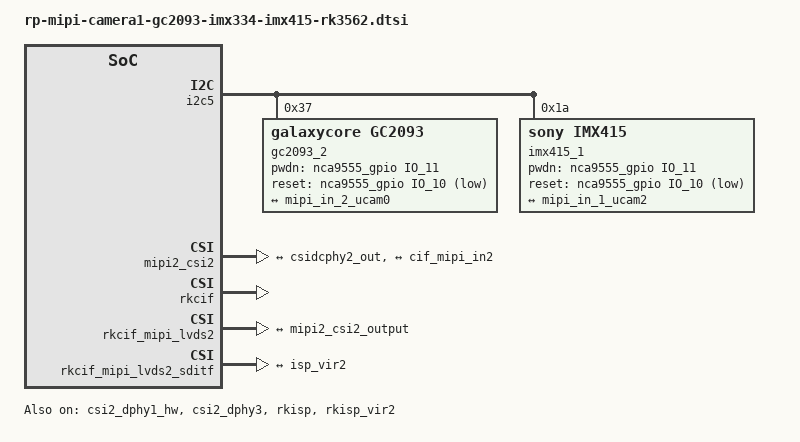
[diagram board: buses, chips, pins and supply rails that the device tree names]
&i2c5 {
        status = "okay";
        gc2093_2: gc2093_2@37 {
                compatible = "galaxycore,gc2093";
                status = "okay";
                reg = <0x37>;
                clocks = <&cru CLK_CAM2_OUT2IO>;
                clock-names = "xvclk";
                pinctrl-names = "default";
		pinctrl-0 = <&cam_clk2_out>;
                pwdn-gpios = <&nca9555_gpio IO_11 GPIO_ACTIVE_HIGH>;
                reset-gpios = <&nca9555_gpio IO_10 GPIO_ACTIVE_LOW>;
                rockchip,camera-module-index = <2>;
                rockchip,camera-module-facing = "back";
                rockchip,camera-module-name = "DW-RV2093-V1.0";
                rockchip,camera-module-lens-name = "JZ-7070AS-A1";
                port {
                        ucam_2_out0: endpoint {
                                remote-endpoint = <&mipi_in_2_ucam0>;
                                data-lanes = <1 2>;
                        };
                };
        };

   	imx334_1: imx334_1@1a {
                compatible = "sony,imx334";
                status = "0kay";
                reg = <0x1a>;
                clocks = <&cru CLK_CAM2_OUT2IO>;
                clock-names = "xvclk";
                // conflict with csi-ctl-gpios//
                pwdn-gpios = <&nca9555_gpio IO_11 GPIO_ACTIVE_HIGH>;
                reset-gpios = <&nca9555_gpio IO_10 GPIO_ACTIVE_HIGH>;
                pinctrl-names = "default";
                pinctrl-0 = <&cam_clk2_out>;
                rockchip,camera-module-index = <0>;
                rockchip,camera-module-facing = "back";
                rockchip,camera-module-name = "CMK-OT1522-FG3";
                rockchip,camera-module-lens-name = "CS-P1150-IRC-8M-FAU";
                
                port {
                        ucam_1_out1: endpoint {
                                remote-endpoint = <&mipi_in_1_ucam1>;
                                data-lanes = <1 2 3 4>;
                        };
                };
        };

    	imx415_1: imx415_1@1a {
                compatible = "sony,imx415";
                status = "okay";
                reg = <0x1a>;
                clocks = <&cru CLK_CAM2_OUT2IO>;
                clock-names = "xvclk";
                pwdn-gpios = <&nca9555_gpio IO_11 GPIO_ACTIVE_HIGH>;
                reset-gpios = <&nca9555_gpio IO_10 GPIO_ACTIVE_LOW>;
                pinctrl-names = "default";
                pinctrl-0 = <&cam_clk2_out>;
                rockchip,camera-module-index = <0>;
                rockchip,camera-module-facing = "back";
                rockchip,camera-module-name = "CMK-OT1607-FV1";
                rockchip,camera-module-lens-name = "M12-40IRC-4MP-F16";
                port {
                        ucam_1_out2: endpoint {
                                remote-endpoint = <&mipi_in_1_ucam2>;
                                data-lanes = <1 2 3 4>;
                        };
                };
        };
    
};


&csi2_dphy1_hw {
	status = "okay";
};

&csi2_dphy3 {
        status = "okay";

        ports {
                #address-cells = <1>;
                #size-cells = <0>;
                port@0 {
                        reg = <0>;
                        #address-cells = <1>;
                        #size-cells = <0>;

                        mipi_in_2_ucam0: endpoint@0 {
                                reg = <0>;
                                remote-endpoint = <&ucam_2_out0>;
                                data-lanes = <1 2>;
                        };

                        mipi_in_1_ucam1: endpoint@1 {
                                reg = <1>;
                                remote-endpoint = <&ucam_1_out1>;
                                data-lanes = <1 2 3 4>;
                        };

                        mipi_in_1_ucam2: endpoint@2 {
                                reg = <2>;
                                remote-endpoint = <&ucam_1_out2>;
                                data-lanes = <1 2 3 4>;
                        };
              };
                port@1 {
                        reg = <1>;
                        #address-cells = <1>;
                        #size-cells = <0>;

                        csidcphy2_out: endpoint@0 {
                                reg = <0>;
                                remote-endpoint = <&mipi2_csi2_input>;
                        };
                };
        };
};


&mipi2_csi2 {
	status = "okay";

	ports {
		#address-cells = <1>;
		#size-cells = <0>;

		port@0 {
			reg = <0>;
			#address-cells = <1>;
			#size-cells = <0>;

			mipi2_csi2_input: endpoint@1 {
				reg = <1>;
				remote-endpoint = <&csidcphy2_out>;
			};
		};

		port@1 {
			reg = <1>;
			#address-cells = <1>;
			#size-cells = <0>;

			mipi2_csi2_output: endpoint@0 {
				reg = <0>;
				remote-endpoint = <&cif_mipi_in2>;
			};
		};
	};
};

&rkcif {
	status = "okay";
};

&rkcif_mipi_lvds2 {
	status = "okay";

	port {
		cif_mipi_in2: endpoint {
			remote-endpoint = <&mipi2_csi2_output>;
		};
	};
};

&rkcif_mipi_lvds2_sditf {
	status = "okay";

	port {
		mipi_lvds2_sditf: endpoint {
			remote-endpoint = <&isp_vir2>;
		};
	};
};

&rkcif_mmu {
	status = "okay";
};

&rkisp {
	status = "okay";
};

&rkisp_mmu {
	status = "okay";
};

&rkisp_vir2 {
	status = "okay";

	port {
		#address-cells = <1>;
		#size-cells = <0>;

		isp_vir2: endpoint@0 {
			reg = <0>;
			remote-endpoint = <&mipi_lvds2_sditf>;
		};
	};
};
